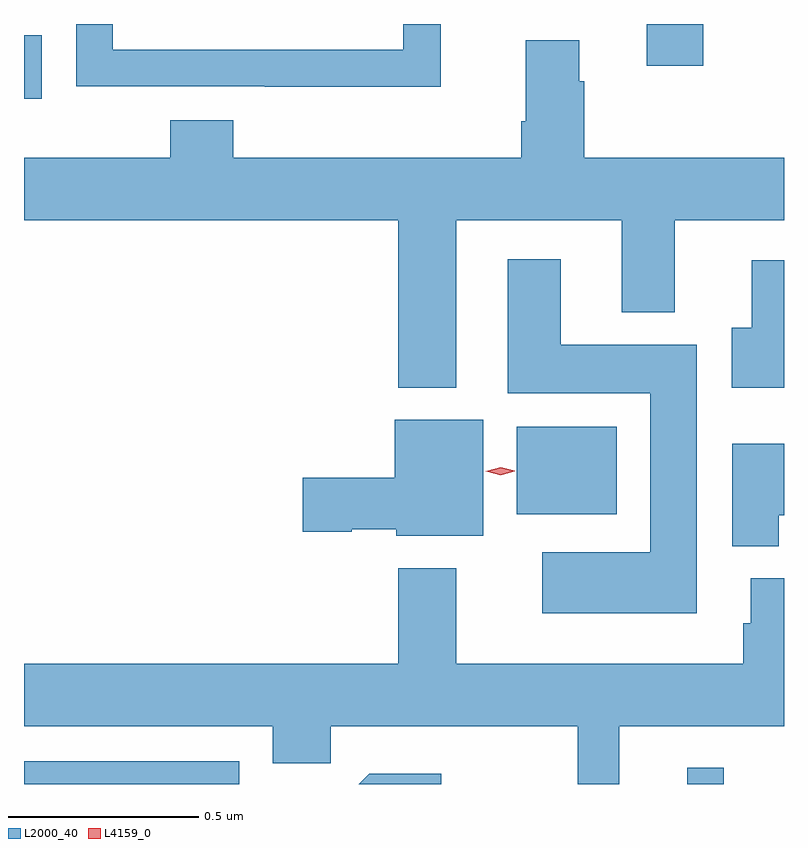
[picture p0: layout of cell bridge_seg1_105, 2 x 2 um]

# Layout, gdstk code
import gdstk
lib = gdstk.Library(unit=1e-6, precision=1e-09)
def R(c, l, rs):  # rectangles x0, y0, x1, y1
    for r in rs: c.add(gdstk.rectangle(r[:2], r[2:], *l))
def P(c, l, *ps):  # polygons
    for p in ps: c.add(gdstk.Polygon(p, *l))
L2000_40 = (2000, 40)
L4159_0 = (4159, 0)

bridge_seg1_105 = lib.new_cell('bridge_seg1_105')
R(bridge_seg1_105, L2000_40, [(136.186,512.952,136.752,513.012), (137.931,512.952,138.028,512.995), (137.483,513.662,137.746,513.892), (136.186,514.755,136.233,514.923), (137.825,514.842,137.974,514.952)])
P(bridge_seg1_105, L2000_40, [(137.283,514.952),(137.184,514.952),(137.184,514.884),(136.419,514.884),(136.419,514.952),(136.323,514.952),(136.323,514.788),(136.819,514.788),(136.819,514.787),(137.283,514.787)],
  [(137.323,514.436),(137.759,514.436),(137.759,514.193),(137.899,514.193),(137.899,514.436),(138.186,514.436),(138.186,514.6),(137.66,514.6),(137.66,514.802),(137.647,514.802),(137.647,514.909),(137.507,514.909),(137.507,514.696),(137.495,514.696),(137.495,514.6),(136.736,514.6),(136.736,514.699),(136.571,514.699),(136.571,514.6),(136.186,514.6),(136.186,514.436),(137.171,514.436),(137.171,513.995),(137.323,513.995)],
  [(137.956,514.108),(137.599,514.108),(137.599,514.333),(137.459,514.333),(137.459,513.98),(137.834,513.98),(137.834,513.562),(137.55,513.562),(137.55,513.401),(137.956,513.401)],
  [(138.186,514.33),(138.101,514.33),(138.101,514.153),(138.048,514.153),(138.048,513.995),(138.186,513.995)],
  [(137.395,513.91),(137.162,513.91),(137.162,513.758),(136.92,513.758),(136.92,513.616),(137.049,513.616),(137.049,513.623),(137.166,513.623),(137.166,513.605),(137.395,513.605)],
  [(138.172,513.659),(138.186,513.659),(138.186,513.847),(138.05,513.847),(138.05,513.578),(138.172,513.578)],
  [(137.753,513.104),(138.186,513.104),(138.186,513.493),(138.098,513.493),(138.098,513.375),(138.079,513.375),(138.079,513.268),(137.323,513.268),(137.323,513.52),(137.171,513.52),(137.171,513.268),(136.186,513.268),(136.186,513.104),(136.841,513.104),(136.841,513.006),(136.993,513.006),(136.993,513.104),(137.643,513.104),(137.643,512.952),(137.753,512.952)],
  [(137.284,512.979),(137.094,512.979),(137.067,512.952),(137.284,512.952)])
P(bridge_seg1_105, L4159_0, [(137.44,513.765),(137.401,513.775),(137.401,513.775),(137.401,513.775),(137.44,513.785),(137.478,513.776),(137.478,513.775),(137.478,513.775)])

lib.write_gds('bridge_seg1_105.gds')
